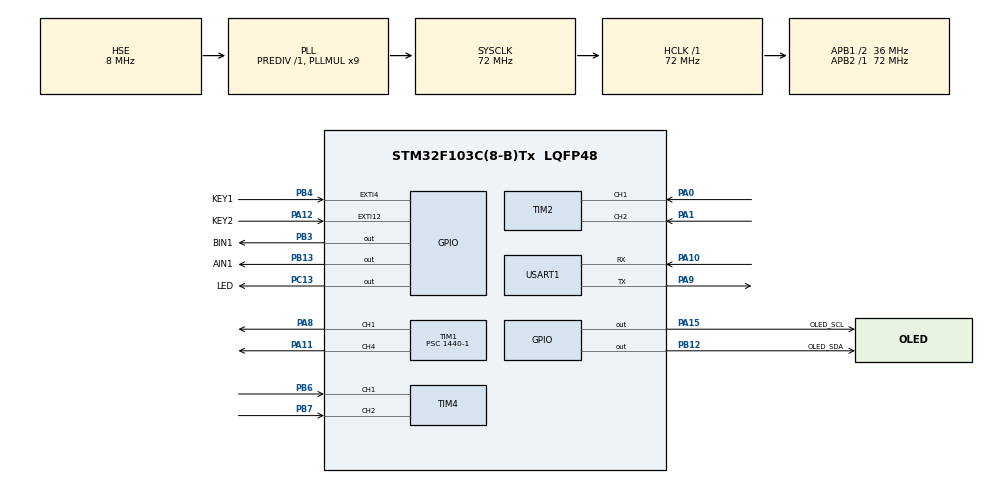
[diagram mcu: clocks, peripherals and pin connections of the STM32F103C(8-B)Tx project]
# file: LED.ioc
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Mcu.Family=STM32F1
Mcu.Name=STM32F103C(8-B)Tx
Mcu.Package=LQFP48
NVIC.EXTI15_10_IRQn=true\:0\:0\:false\:false\:true\:true\:true\:true
NVIC.EXTI4_IRQn=true\:0\:0\:false\:false\:true\:true\:true\:true
NVIC.PriorityGroup=NVIC_PRIORITYGROUP_4
NVIC.TIM1_UP_IRQn=true\:0\:0\:false\:false\:true\:true\:true\:true
NVIC.TIM2_IRQn=true\:0\:0\:false\:false\:true\:true\:true\:true
NVIC.TIM4_IRQn=true\:0\:0\:false\:false\:true\:true\:true\:true
NVIC.USART1_IRQn=true\:0\:0\:false\:false\:true\:true\:true\:true
PA0-WKUP.GPIO_PuPd=GPIO_PULLUP
PA0-WKUP.Signal=S_TIM2_CH1_ETR
PA1.GPIO_PuPd=GPIO_PULLUP
PA1.Signal=S_TIM2_CH2
PA10.Mode=Asynchronous
PA10.Signal=USART1_RX
PA11.Signal=S_TIM1_CH4
PA12.GPIO_Label=KEY2
PA12.GPIO_ModeDefaultEXTI=GPIO_MODE_IT_FALLING
PA12.GPIO_PuPd=GPIO_PULLUP
PA12.Signal=GPXTI12
PA13.Mode=Serial_Wire
PA13.Signal=SYS_JTMS-SWDIO
PA14.Mode=Serial_Wire
PA14.Signal=SYS_JTCK-SWCLK
PA15.GPIO_Label=OLED_SCL
PA15.GPIO_PuPd=GPIO_PULLUP
PA15.PinState=GPIO_PIN_SET
PA15.Signal=GPIO_Output
PA8.Signal=S_TIM1_CH1
PA9.Mode=Asynchronous
PA9.Signal=USART1_TX
PB12.GPIO_Label=OLED_SDA
PB12.GPIO_PuPd=GPIO_PULLUP
PB12.PinState=GPIO_PIN_SET
PB12.Signal=GPIO_Output
PB13.GPIO_Label=AIN1
PB13.Signal=GPIO_Output
PB3.GPIO_Label=BIN1
PB3.Signal=GPIO_Output
PB4.GPIO_Label=KEY1
PB4.GPIO_ModeDefaultEXTI=GPIO_MODE_IT_RISING
PB4.GPIO_PuPd=GPIO_PULLDOWN
PB4.Signal=GPXTI4
PB6.GPIO_PuPd=GPIO_PULLUP
PB6.Signal=S_TIM4_CH1
PB7.GPIO_PuPd=GPIO_PULLUP
PB7.Signal=S_TIM4_CH2
PC13-TAMPER-RTC.GPIO_Label=LED
PC13-TAMPER-RTC.Signal=GPIO_Output
PD0-OSC_IN.Mode=HSE-External-Oscillator
PD0-OSC_IN.Signal=RCC_OSC_IN
PD1-OSC_OUT.Mode=HSE-External-Oscillator
PD1-OSC_OUT.Signal=RCC_OSC_OUT
ProjectManager.HeapSize=0x800
ProjectManager.StackSize=0x800
ProjectManager.TargetToolchain=MDK-ARM V5.32
RCC.AHBFreq_Value=72000000
RCC.APB1CLKDivider=RCC_HCLK_DIV2
RCC.APB1Freq_Value=36000000
RCC.APB1TimFreq_Value=72000000
RCC.APB2Freq_Value=72000000
RCC.APB2TimFreq_Value=72000000
RCC.HCLKFreq_Value=72000000
RCC.PLLMUL=RCC_PLL_MUL9
RCC.PLLSourceVirtual=RCC_PLLSOURCE_HSE
RCC.SYSCLKFreq_VALUE=72000000
RCC.SYSCLKSource=RCC_SYSCLKSOURCE_PLLCLK
RCC.USBFreq_Value=72000000
SH.S_TIM1_CH1.0=TIM1_CH1,PWM Generation1 CH1
SH.S_TIM1_CH4.0=TIM1_CH4,PWM Generation4 CH4
SH.S_TIM2_CH1_ETR.0=TIM2_CH1,Encoder_Interface
SH.S_TIM2_CH2.0=TIM2_CH2,Encoder_Interface
SH.S_TIM4_CH1.0=TIM4_CH1,Encoder_Interface
SH.S_TIM4_CH2.0=TIM4_CH2,Encoder_Interface
TIM1.AutoReloadPreload=TIM_AUTORELOAD_PRELOAD_ENABLE
TIM1.Channel-PWM\ Generation1\ CH1=TIM_CHANNEL_1
TIM1.Channel-PWM\ Generation4\ CH4=TIM_CHANNEL_4
TIM1.Period=100-1
TIM1.Prescaler=1440-1
TIM1.Pulse-PWM\ Generation1\ CH1=50
TIM1.Pulse-PWM\ Generation4\ CH4=50
TIM2.EncoderMode=TIM_ENCODERMODE_TI12
TIM2.IC1Filter=6
TIM2.IC2Filter=6
TIM4.EncoderMode=TIM_ENCODERMODE_TI12
TIM4.IC1Filter=6
TIM4.IC2Filter=6
USART1.VirtualMode=VM_ASYNC
VP_TIM1_VS_ClockSourceINT.Mode=Internal
board=custom

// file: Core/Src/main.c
/* USER CODE BEGIN Header */
/**
  ******************************************************************************
  * @file           : main.c
  * @brief          : Main program body
  ******************************************************************************
  * @attention
  *
  * Copyright (c) 2022 STMicroelectronics.
  * All rights reserved.
  *
  * This software is licensed under terms that can be found in the LICENSE file
  * in the root directory of this software component.
  * If no LICENSE file comes with this software, it is provided AS-IS.
  *
  ******************************************************************************
  */
/* USER CODE END Header */
#include "main.h"
#include "tim.h"
#include "usart.h"
#include "gpio.h"

/* USER CODE BEGIN Includes */
#include "oled.h"
#include "stdio.h"
#include "motor.h"
#include "niming.h"
#include "pid.h"

#include "cJSON.h"
#include <string.h>
/* USER CODE END Includes */

/* USER CODE BEGIN PM */
extern float Motor1Speed ;
extern float Motor2Speed ;
int Motor1Pwm;
int Motor2Pwm;

extern tPid pidMotor1Speed;
extern tPid pidMotor2Speed;
extern uint8_t Usart1_ReadBuf[255];	//串口1 缓冲数组
float p,i,d,a,b;
/* USER CODE END PM */

void SystemClock_Config(void);

int main(void)
{

  /* MCU Configuration--------------------------------------------------------*/

  /* Reset of all peripherals, Initializes the Flash interface and the Systick. */
  HAL_Init();

  /* Configure the system clock */
  SystemClock_Config();

  /* Initialize all configured peripherals */
  MX_GPIO_Init();
  MX_USART1_UART_Init();
  MX_TIM1_Init();
  MX_TIM2_Init();
  MX_TIM4_Init();
  /* USER CODE BEGIN 2 */
  OLED_Init();			//初始化OLED
  OLED_Clear()  	;
  HAL_TIM_PWM_Start(&htim1,TIM_CHANNEL_1);//开启定时器1 通道1 PWM输出
  HAL_TIM_PWM_Start(&htim1,TIM_CHANNEL_4);//开启定时器1 通道4 PWM输出
  HAL_TIM_Encoder_Start(&htim2,TIM_CHANNEL_ALL);//开启定时器2
  HAL_TIM_Encoder_Start(&htim4,TIM_CHANNEL_ALL);//开启定时器4
  HAL_TIM_Base_Start_IT(&htim2);				//开启定时器2 中断
  HAL_TIM_Base_Start_IT(&htim4);                //开启定时器4 中断

  HAL_TIM_Base_Start_IT(&htim1);                //开启定时器1 中断
  __HAL_UART_ENABLE_IT(&huart1,UART_IT_RXNE);	//开启串口1接收中断
  PID_init();
  cJSON *cJsonData ,*cJsonVlaue;
  /* USER CODE END 2 */

  /* Infinite loop */
  while (1)
  {

    /* USER CODE BEGIN 3 */
//	OLED_ShowCHinese(0,0,0);//中
//	OLED_ShowCHinese(18,0,1);//景
//	OLED_ShowCHinese(36,0,2);//园
//	OLED_ShowCHinese(54,0,3);//电
//	OLED_ShowCHinese(72,0,4);//子
//	OLED_ShowCHinese(90,0,5);//科
//	OLED_ShowCHinese(108,0,6);//技
//	__HAL_TIM_SET_COMPARE(&htim1, TIM_CHANNEL_4, 0);
//    __HAL_TIM_SET_COMPARE(&htim1, TIM_CHANNEL_1, 90);
//    __HAL_TIM_SET_COMPARE(&htim1, TIM_CHANNEL_4, 90);
//	HAL_GPIO_WritePin(AIN1_GPIO_Port,AIN1_Pin,GPIO_PIN_RESET);
//	HAL_GPIO_WritePin(BIN1_GPIO_Port,BIN1_Pin,GPIO_PIN_RESET);

//	if(Motor1Speed <2.9) Motor1Pwm++;
//	if(Motor1Speed >3.1) Motor1Pwm--;
//	if(Motor2Speed <2.9) Motor2Pwm++;
//	if(Motor2Speed >3.1) Motor2Pwm--;

//	printf("Motor1Speed:%.2f Motor1Pwm:%d\r\n",Motor1Speed,Motor1Pwm);
//	printf("Motor2Speed:%.2f Motor2Pwm:%d\r\n",Motor2Speed,Motor2Pwm);
	HAL_Delay(2000);
//	motorPidSetSpeed(1,2);//右边运动
//	motorPidSetSpeed(2,1);//左边运动
//	motorPidSetSpeed(3,3);//前运动
//	motorPidSetSpeed(-1,-1);//后运动
//    motorPidSetSpeed(-1,1); //向右原地旋转
//	motorPidSetSpeed(1,-1); //向左原地旋转
    motorPidSpeedCut();
	ANO_DT_Send_F2(Motor1Speed*100, 3.0*100,Motor2Speed*100,3.0*100);

	if(Usart_WaitReasFinish() == 0)//是否接收完毕
	{
		cJsonData  = cJSON_Parse((const char *)Usart1_ReadBuf);
		if(cJSON_GetObjectItem(cJsonData,"p") !=NULL)
		{
			cJsonVlaue = cJSON_GetObjectItem(cJsonData,"p");
		    p = cJsonVlaue->valuedouble;
			pidMotor1Speed.Kp = p;
		}
		if(cJSON_GetObjectItem(cJsonData,"i") !=NULL)
		{
			cJsonVlaue = cJSON_GetObjectItem(cJsonData,"i");
		    i = cJsonVlaue->valuedouble;
			pidMotor1Speed.Ki = i;
		}
		if(cJSON_GetObjectItem(cJsonData,"d") !=NULL)
		{
			cJsonVlaue = cJSON_GetObjectItem(cJsonData,"d");
		    d = cJsonVlaue->valuedouble;
			pidMotor1Speed.Kd = d;
		}
		if(cJSON_GetObjectItem(cJsonData,"a") !=NULL)
		{

			cJsonVlaue = cJSON_GetObjectItem(cJsonData,"a");
		    a = cJsonVlaue->valuedouble;
			pidMotor1Speed.target_val =a;
		}
		if(cJSON_GetObjectItem(cJsonData,"b") !=NULL)
		{

			cJsonVlaue = cJSON_GetObjectItem(cJsonData,"b");
		    b = cJsonVlaue->valuedouble;
			pidMotor2Speed.target_val =b;
		}
		if(cJsonData != NULL){
		  cJSON_Delete(cJsonData);//释放空间、但是不能删除cJsonVlaue不然会 出现异常错误
		}
		memset(Usart1_ReadBuf,0,255);//清空接收buf，注意这里不能使用strlen
	}
	printf("P:%.3f  I:%.3f  D:%.3f A:%.3f\r\n",p,i,d,a);

//	__HAL_TIM_SET_COMPARE(&htim1, TIM_CHANNEL_1, 10);
//	__HAL_TIM_SET_COMPARE(&htim1, TIM_CHANNEL_4, 10);
//	HAL_GPIO_WritePin(BIN1_GPIO_Port,BIN1_Pin,GPIO_PIN_SET);
//	HAL_GPIO_WritePin(AIN1_GPIO_Port,AIN1_Pin,GPIO_PIN_SET);

//	uint8_t c_Data[] = "串口输出测试:好家伙VCC\r\n";
//	HAL_UART_Transmit(&huart1,c_Data,sizeof(c_Data),0xFFFF);
//	HAL_Delay(1000);
//	printf("printf:好家伙VCC测试\r\n");
//	HAL_GPIO_TogglePin(LED_GPIO_Port,LED_Pin);
//	HAL_Delay(500);

  }
  /* USER CODE END 3 */
}

void SystemClock_Config(void)
{
  RCC_OscInitTypeDef RCC_OscInitStruct = {0};
  RCC_ClkInitTypeDef RCC_ClkInitStruct = {0};

  /** Initializes the RCC Oscillators according to the specified parameters
  * in the RCC_OscInitTypeDef structure.
  */
  RCC_OscInitStruct.OscillatorType = RCC_OSCILLATORTYPE_HSE;
  RCC_OscInitStruct.HSEState = RCC_HSE_ON;
  RCC_OscInitStruct.HSEPredivValue = RCC_HSE_PREDIV_DIV1;
  RCC_OscInitStruct.HSIState = RCC_HSI_ON;
  RCC_OscInitStruct.PLL.PLLState = RCC_PLL_ON;
  RCC_OscInitStruct.PLL.PLLSource = RCC_PLLSOURCE_HSE;
  RCC_OscInitStruct.PLL.PLLMUL = RCC_PLL_MUL9;
  if (HAL_RCC_OscConfig(&RCC_OscInitStruct) != HAL_OK)
  {
    Error_Handler();
  }

  /** Initializes the CPU, AHB and APB buses clocks
  */
  RCC_ClkInitStruct.ClockType = RCC_CLOCKTYPE_HCLK|RCC_CLOCKTYPE_SYSCLK
                              |RCC_CLOCKTYPE_PCLK1|RCC_CLOCKTYPE_PCLK2;
  RCC_ClkInitStruct.SYSCLKSource = RCC_SYSCLKSOURCE_PLLCLK;
  RCC_ClkInitStruct.AHBCLKDivider = RCC_SYSCLK_DIV1;
  RCC_ClkInitStruct.APB1CLKDivider = RCC_HCLK_DIV2;
  RCC_ClkInitStruct.APB2CLKDivider = RCC_HCLK_DIV1;

  if (HAL_RCC_ClockConfig(&RCC_ClkInitStruct, FLASH_LATENCY_2) != HAL_OK)
  {
    Error_Handler();
  }
}

void Error_Handler(void)
{
  __disable_irq();
  while (1)
  {
  }
}
